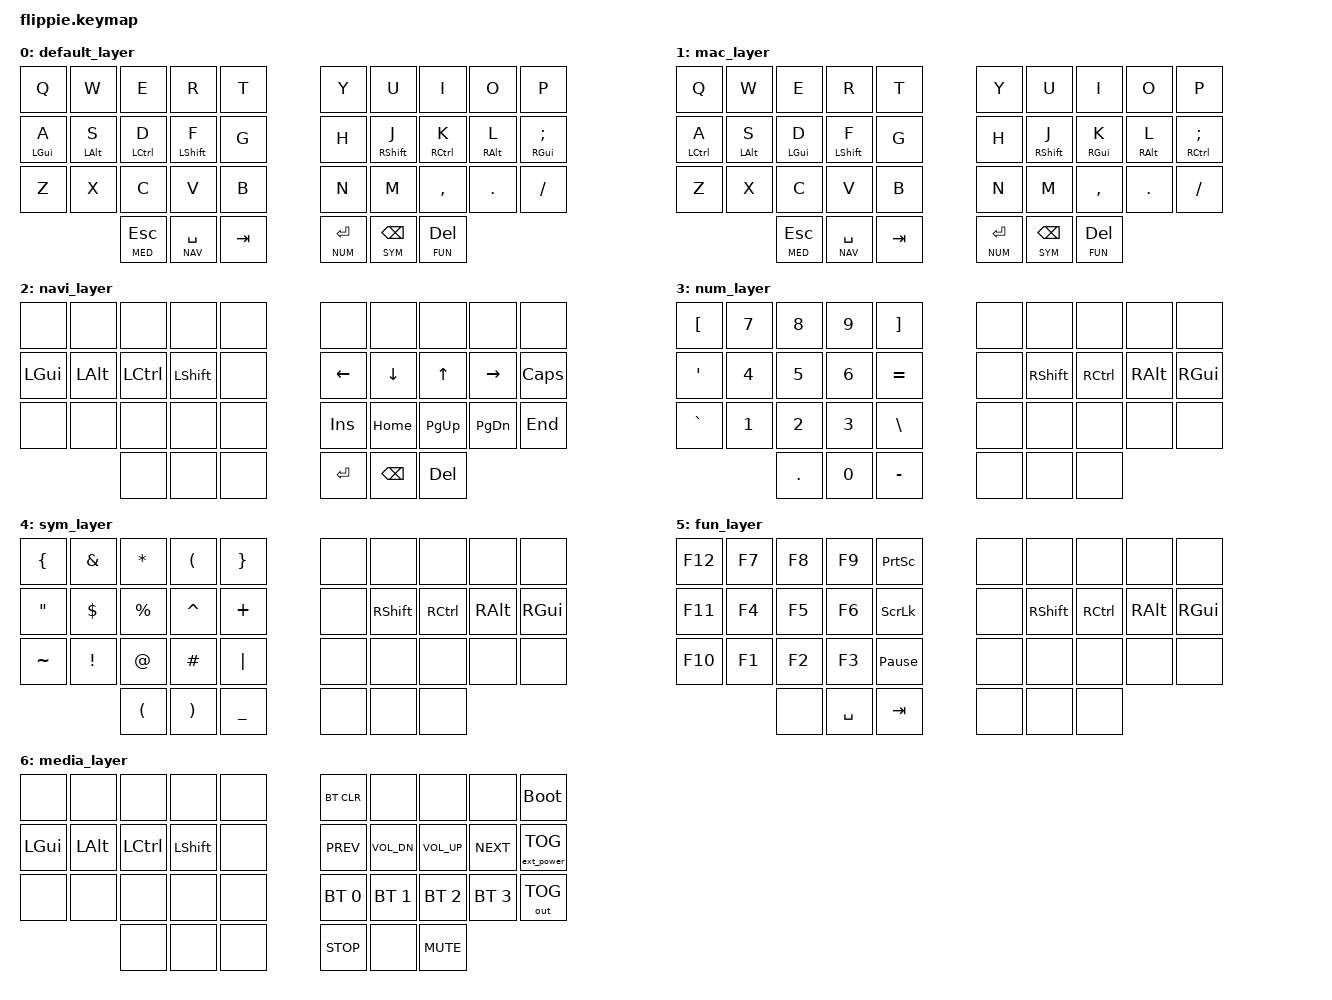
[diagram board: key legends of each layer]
#include <behaviors.dtsi>
#include <dt-bindings/zmk/keys.h>
#include <dt-bindings/zmk/bt.h>
#include <dt-bindings/zmk/outputs.h>
#include <dt-bindings/zmk/ext_power.h>

#define TAPPING_TERM 175
#define QUICK_TAP 125
#define TAPPING_TERM_FAST 150
#define PRIOR_IDLE 100


#define BASE 0
#define MAC 1
#define NAV 2
#define NUM 3
#define SYM 4
#define FUN 5
#define MED 6

#define KEYS_L 0 1 2 3 4 10 11 12 13 14 20 21 22 23 24
#define KEYS_R 5 6 7 8 9 15 16 17 18 19 25 26 27 28 29
#define THUMBS 30 32 32 33 34 35

&lt {
    tapping-term-ms = <175>;
};

/ {
    behaviors {
        hml: homerow_mods_left {
            compatible = "zmk,behavior-hold-tap";
            #binding-cells = <2>;
            bindings = <&kp>,  <&kp>;
            flavor = "tap-unless-interrupted";
            tapping-term-ms = <TAPPING_TERM>;
            quick-tap-ms = <QUICK_TAP>;
            require-prior-idle-ms = <PRIOR_IDLE>;

            hold-trigger-key-positions = <KEYS_R THUMBS>;
            hold-trigger-on-release;
        };

        hmr: homerow_mods_right {
            compatible = "zmk,behavior-hold-tap";
            #binding-cells = <2>;
            bindings = <&kp>,  <&kp>;
            flavor = "tap-unless-interrupted";
            tapping-term-ms = <TAPPING_TERM>;
            quick-tap-ms = <QUICK_TAP>;
            require-prior-idle-ms = <PRIOR_IDLE>;

            hold-trigger-key-positions = <KEYS_L THUMBS>;
            hold-trigger-on-release;
        };
    };

    combos {
        compatible = "zmk,combos";
        combo_mac {
            timeout-ms = <50>;
            key-positions = <12 13 16 17>;
            layers = <BASE>;
            bindings = <&tog MAC>;
        };
        combo_win {
            timeout-ms = <50>;
            key-positions = <12 13 16 17>;
            layers = <MAC>;
            bindings = <&tog MAC>;
        };
    };


    keymap {
        compatible = "zmk,keymap";
        
        default_layer {
            bindings = <
                &kp Q &kp W &kp E &kp R &kp T                                 &kp Y &kp U &kp I &kp O &kp P 
                &hml LGUI A &hml LALT S &hml LCTRL D &hml LSHFT F &kp G       &kp H &hmr RSHFT J &hmr RCTRL K &hmr RALT L &hmr RGUI SEMI 
                &kp Z &kp X &kp C &kp V &kp B                                 &kp N &kp M &kp COMMA &kp DOT &kp FSLH 
                            &lt MED ESC &lt NAV SPC &kp TAB                   &lt NUM RET &lt SYM BSPC &lt FUN DEL
                >;
        };

        mac_layer {
            bindings = <
                &kp Q &kp W &kp E &kp R &kp T                                 &kp Y &kp U &kp I &kp O &kp P 
                &hml LCTRL A &hml LALT S &hml LGUI D &hml LSHFT F &kp G      &kp H &hmr RSHFT J &hmr RGUI K &hmr RALT L &hmr RCTRL SEMI 
                &kp Z &kp X &kp C &kp V &kp B                                 &kp N &kp M &kp COMMA &kp DOT &kp FSLH 
                            &lt MED ESC &lt NAV SPC &kp TAB                   &lt NUM RET &lt SYM BSPC &lt FUN DEL
                >;
        };

        navi_layer {
            bindings = <
                &none &none &none &none &none                              &none &none &none &none &none
                &kp LGUI &kp LALT &kp LCTRL &kp LSHFT &none                &kp LEFT &kp DOWN &kp UP &kp RIGHT &kp CAPS
                &none &none &none &none &none                              &kp INS &kp HOME &kp PG_UP &kp PG_DN &kp END
                            &none &none &none                              &kp RET &kp BSPC &kp DEL
                >;
        };
        
        num_layer {
            bindings = <
                &kp LBKT &kp N7 &kp N8 &kp N9 &kp RBKT                        &none &none &none &none &none
                &kp SQT  &kp N4 &kp N5 &kp N6 &kp EQUAL                       &none &kp RSHFT &kp RCTRL &kp RALT &kp RGUI
                &kp GRAVE &kp N1 &kp N2 &kp N3 &kp BSLH                       &none &none &none &none &none
                             &kp DOT  &kp N0  &kp MINUS                       &none &none &none
                >;
        };
        
        sym_layer {
            bindings = <
                &kp LBRC &kp AMPS &kp STAR &kp LPAR &kp RBRC                    &none &none &none &none &none
                &kp DQT &kp DLLR &kp PRCNT &kp CARET &kp PLUS                   &none &kp RSHFT &kp RCTRL &kp RALT &kp RGUI
                &kp TILDE &kp EXCL &kp AT &kp HASH &kp PIPE                     &none &none &none &none &none
                            &kp LPAR &kp RPAR &kp UNDER                         &none &none &none
                >;
        };

        fun_layer {
            bindings = <
                &kp F12 &kp F7 &kp F8 &kp F9 &kp PRINTSCREEN                      &none &none &none &none &none
                &kp F11 &kp F4 &kp F5 &kp F6 &kp SCROLLLOCK                       &none &kp RSHFT &kp RCTRL &kp RALT &kp RGUI
                &kp F10 &kp F1 &kp F2 &kp F3 &kp PAUSE_BREAK                      &none &none &none &none &none
                             &none  &kp SPC  &kp TAB                       &none &none &none
                >;
        };
        
        media_layer {
            bindings = <
                &none &none &none &none &none                              &bt BT_CLR &none &none &none &bootloader
                &kp LGUI &kp LALT &kp LCTRL &kp LSHFT &none                &kp C_PREV &kp C_VOL_DN &kp C_VOL_UP &kp C_NEXT &ext_power EP_TOG
                &none &none &none &none &none                              &bt BT_SEL 0 &bt BT_SEL 1 &bt BT_SEL 2 &bt BT_SEL 3 &out OUT_TOG
                            &none &none &none                              &kp C_STOP &none &kp C_MUTE
                >;
        };

    };

};
